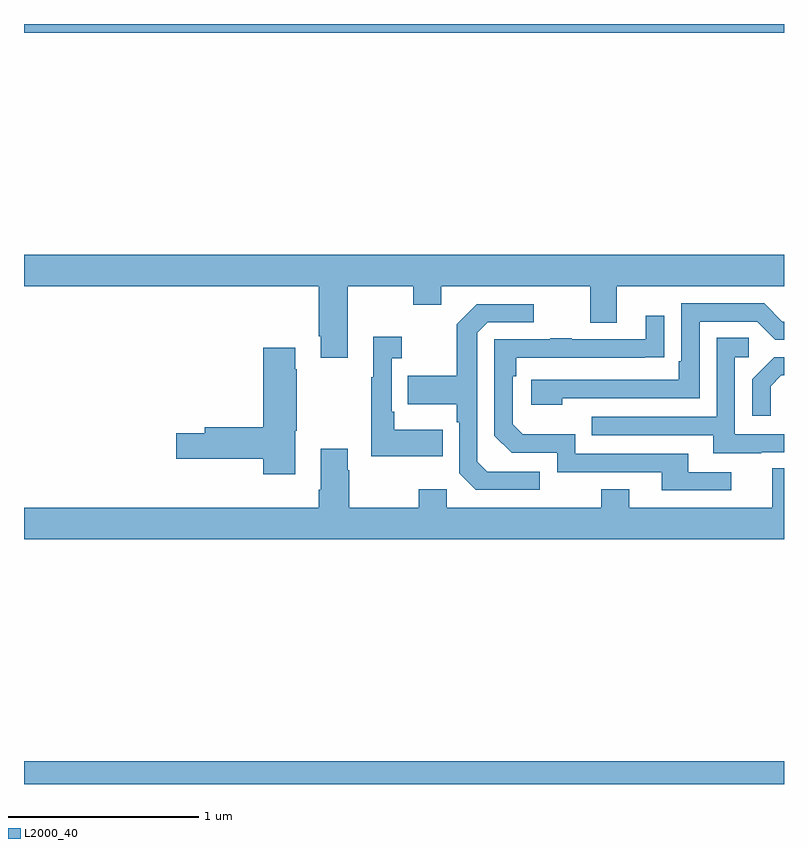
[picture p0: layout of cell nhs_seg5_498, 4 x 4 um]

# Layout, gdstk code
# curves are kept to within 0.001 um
import gdstk
lib = gdstk.Library(unit=1e-6, precision=1e-09)
def R(c, l, rs):  # rectangles x0, y0, x1, y1
    for r in rs: c.add(gdstk.rectangle(r[:2], r[2:], *l))
def P(c, l, *ps):  # polygons
    for p in ps: c.add(gdstk.Polygon(p, *l))
L2000_40 = (2000, 40)

nhs_seg5_498 = lib.new_cell('nhs_seg5_498')
R(nhs_seg5_498, L2000_40, [(143,860.799,147,860.92), (143,864.752,147,864.799)])
P(nhs_seg5_498, L2000_40, [(144.703,863.42),(145.048,863.42),(145.048,863.321),(145.195,863.321),(145.195,863.42),(145.979,863.42),(145.979,863.226),(146.119,863.226),(146.119,863.42),(147,863.42),(147,863.584),(143,863.584),(143,863.42),(144.551,863.42),(144.551,863.155),(144.563,863.155),(144.563,863.043),(144.703,863.043)],
  [(145.832,862.83),(146.556,862.83),(146.556,863.232),(146.859,863.232),(146.955,863.136),(147,863.136),(147,863.232),(146.991,863.232),(146.895,863.328),(146.46,863.328),(146.46,863.023),(146.447,863.023),(146.447,862.926),(145.671,862.926),(145.671,862.796),(145.832,862.796)],
  [(145.714,862.443),(145.437,862.443),(145.386,862.494),(145.386,863.175),(145.44,863.229),(145.684,863.229),(145.684,863.325),(145.383,863.325),(145.278,863.219),(145.278,862.947),(145.021,862.947),(145.021,862.799),(145.278,862.799),(145.278,862.703),(145.29,862.703),(145.29,862.434),(145.377,862.347),(145.714,862.347)],
  [(146.722,862.44),(146.497,862.44),(146.497,862.536),(145.902,862.536),(145.902,862.639),(145.625,862.639),(145.572,862.692),(145.572,862.946),(145.592,862.946),(145.592,863.043),(146.369,863.044),(146.369,863.263),(146.273,863.263),(146.273,863.139),(145.883,863.139),(145.883,863.144),(145.771,863.144),(145.771,863.139),(145.476,863.139),(145.476,862.632),(145.566,862.542),(145.806,862.542),(145.806,862.44),(146.357,862.44),(146.357,862.344),(146.722,862.344)],
  [(145.205,862.663),(144.949,862.663),(144.949,862.759),(144.936,862.759),(144.936,863.039),(144.988,863.039),(144.988,863.152),(144.839,863.152),(144.839,862.939),(144.828,862.939),(144.828,862.523),(145.205,862.523)],
  [(146.881,862.545),(147,862.545),(147,862.641),(146.742,862.641),(146.742,863.046),(146.815,863.046),(146.815,863.147),(146.646,863.147),(146.646,862.731),(145.987,862.731),(145.987,862.635),(146.627,862.635),(146.627,862.541),(146.881,862.541)],
  [(144.427,862.659),(144.435,862.659),(144.435,862.982),(144.427,862.982),(144.427,863.095),(144.26,863.095),(144.26,862.676),(143.951,862.676),(143.951,862.646),(143.802,862.646),(143.802,862.511),(144.26,862.511),(144.26,862.428),(144.427,862.428)],
  [(146.929,862.893),(146.986,862.95),(147,862.95),(147,863.046),(146.948,863.046),(146.832,862.93),(146.832,862.737),(146.929,862.737)],
  [(146.038,862.351),(146.038,862.252),(145.224,862.252),(145.224,862.351),(145.078,862.351),(145.078,862.252),(144.711,862.252),(144.711,862.451),(144.703,862.451),(144.703,862.564),(144.563,862.564),(144.563,862.348),(144.551,862.348),(144.551,862.252),(143,862.252),(143,862.088),(147,862.088),(147,862.46),(146.939,862.46),(146.939,862.252),(146.185,862.252),(146.185,862.351)])

lib.write_gds('nhs_seg5_498.gds')
